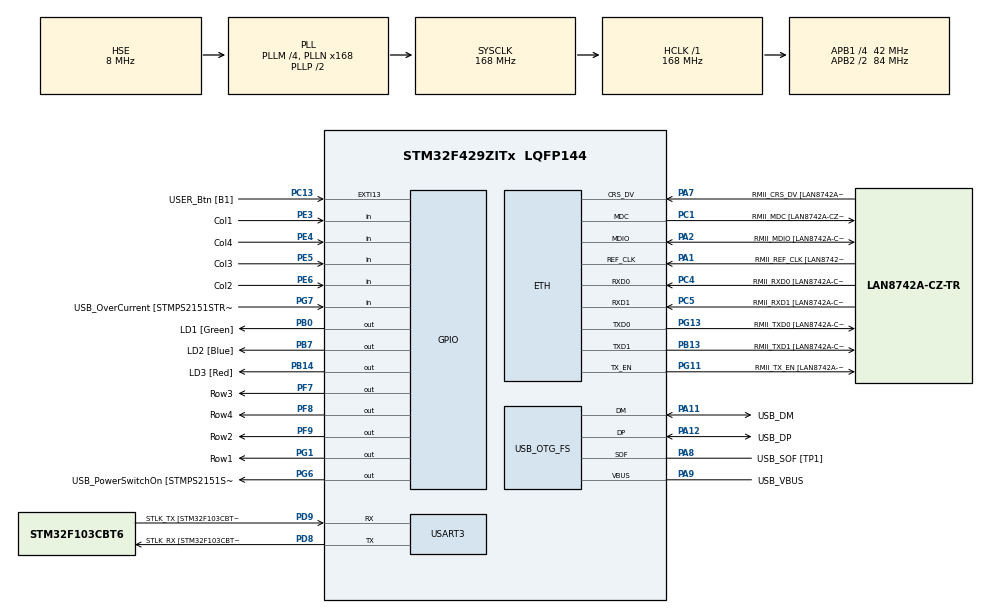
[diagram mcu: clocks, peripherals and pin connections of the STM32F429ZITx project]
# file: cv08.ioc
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ETH.MediaInterface=HAL_ETH_RMII_MODE
ETH.PHY_Name=LAN8742A_PHY_ADDRESS
ETH.PHY_Value=0
ETH.PhyAddress=0
Mcu.Family=STM32F4
Mcu.Name=STM32F429ZITx
Mcu.Package=LQFP144
NVIC.PriorityGroup=NVIC_PRIORITYGROUP_4
NVIC.TIM3_IRQn=true\:0\:0\:false\:false\:true\:true\:true\:true
PA1.GPIO_Label=RMII_REF_CLK [LAN8742A-CZ-TR_REFCLK0]
PA1.Mode=RMII
PA1.Signal=ETH_REF_CLK
PA10.GPIO_Label=USB_ID
PA10.Signal=USB_OTG_FS_ID
PA11.GPIO_Label=USB_DM
PA11.Mode=Device_Only
PA11.Signal=USB_OTG_FS_DM
PA12.GPIO_Label=USB_DP
PA12.Mode=Device_Only
PA12.Signal=USB_OTG_FS_DP
PA13.GPIO_Label=TMS
PA13.Mode=Serial_Wire
PA13.Signal=SYS_JTMS-SWDIO
PA14.GPIO_Label=TCK
PA14.Mode=Serial_Wire
PA14.Signal=SYS_JTCK-SWCLK
PA2.GPIO_Label=RMII_MDIO [LAN8742A-CZ-TR_MDIO]
PA2.Mode=RMII
PA2.Signal=ETH_MDIO
PA7.GPIO_Label=RMII_CRS_DV [LAN8742A-CZ-TR_CRS_DV]
PA7.Mode=RMII
PA7.Signal=ETH_CRS_DV
PA8.GPIO_Label=USB_SOF [TP1]
PA8.Mode=Activate_SOF_FS
PA8.Signal=USB_OTG_FS_SOF
PA9.GPIO_Label=USB_VBUS
PA9.Mode=Activate_VBUS
PA9.Signal=USB_OTG_FS_VBUS
PB0.GPIO_Label=LD1 [Green]
PB0.Signal=GPIO_Output
PB13.GPIO_Label=RMII_TXD1 [LAN8742A-CZ-TR_TXD1]
PB13.Mode=RMII
PB13.Signal=ETH_TXD1
PB14.GPIO_Label=LD3 [Red]
PB14.Signal=GPIO_Output
PB7.GPIO_Label=LD2 [Blue]
PB7.Signal=GPIO_Output
PC1.GPIO_Label=RMII_MDC [LAN8742A-CZ-TR_MDC]
PC1.Mode=RMII
PC1.Signal=ETH_MDC
PC13.GPIO_Label=USER_Btn [B1]
PC13.Signal=GPXTI13
PC14/OSC32_IN.Mode=LSE-External-Oscillator
PC14/OSC32_IN.Signal=RCC_OSC32_IN
PC15/OSC32_OUT.Mode=LSE-External-Oscillator
PC15/OSC32_OUT.Signal=RCC_OSC32_OUT
PC4.GPIO_Label=RMII_RXD0 [LAN8742A-CZ-TR_RXD0]
PC4.Mode=RMII
PC4.Signal=ETH_RXD0
PC5.GPIO_Label=RMII_RXD1 [LAN8742A-CZ-TR_RXD1]
PC5.Mode=RMII
PC5.Signal=ETH_RXD1
PD8.GPIO_Label=STLK_RX [STM32F103CBT6_PA3]
PD8.Mode=Asynchronous
PD8.Signal=USART3_TX
PD9.GPIO_Label=STLK_TX [STM32F103CBT6_PA2]
PD9.Mode=Asynchronous
PD9.Signal=USART3_RX
PE3.GPIO_Label=Col1
PE3.GPIO_PuPd=GPIO_PULLUP
PE3.Signal=GPIO_Input
PE4.GPIO_Label=Col4
PE4.GPIO_PuPd=GPIO_PULLUP
PE4.Signal=GPIO_Input
PE5.GPIO_Label=Col3
PE5.GPIO_PuPd=GPIO_PULLUP
PE5.Signal=GPIO_Input
PE6.GPIO_Label=Col2
PE6.GPIO_PuPd=GPIO_PULLUP
PE6.Signal=GPIO_Input
PF7.GPIO_Label=Row3
PF7.GPIO_ModeDefaultOutputPP=GPIO_MODE_OUTPUT_OD
PF7.GPIO_PuPd=GPIO_NOPULL
PF7.Signal=GPIO_Output
PF8.GPIO_Label=Row4
PF8.GPIO_ModeDefaultOutputPP=GPIO_MODE_OUTPUT_OD
PF8.GPIO_PuPd=GPIO_NOPULL
PF8.Signal=GPIO_Output
PF9.GPIO_Label=Row2
PF9.GPIO_ModeDefaultOutputPP=GPIO_MODE_OUTPUT_OD
PF9.GPIO_PuPd=GPIO_NOPULL
PF9.Signal=GPIO_Output
PG1.GPIO_Label=Row1
PG1.GPIO_ModeDefaultOutputPP=GPIO_MODE_OUTPUT_OD
PG1.GPIO_PuPd=GPIO_NOPULL
PG1.Signal=GPIO_Output
PG11.GPIO_Label=RMII_TX_EN [LAN8742A-CZ-TR_TXEN]
PG11.Mode=RMII
PG11.Signal=ETH_TX_EN
PG13.GPIO_Label=RMII_TXD0 [LAN8742A-CZ-TR_TXD0]
PG13.Mode=RMII
PG13.Signal=ETH_TXD0
PG6.GPIO_Label=USB_PowerSwitchOn [STMPS2151STR_EN]
PG6.Signal=GPIO_Output
PG7.GPIO_Label=USB_OverCurrent [STMPS2151STR_FAULT]
PG7.Signal=GPIO_Input
PH0/OSC_IN.GPIO_Label=MCO [STM32F103CBT6_PA8]
PH0/OSC_IN.Mode=HSE-External-Clock-Source
PH0/OSC_IN.Signal=RCC_OSC_IN
PH1/OSC_OUT.Mode=HSE-External-Clock-Source
PH1/OSC_OUT.Signal=RCC_OSC_OUT
ProjectManager.HeapSize=0x200
ProjectManager.StackSize=0x400
ProjectManager.TargetToolchain=STM32CubeIDE
RCC.48MHZClocksFreq_Value=48000000
RCC.AHBFreq_Value=168000000
RCC.APB1CLKDivider=RCC_HCLK_DIV4
RCC.APB1Freq_Value=42000000
RCC.APB1TimFreq_Value=84000000
RCC.APB2CLKDivider=RCC_HCLK_DIV2
RCC.APB2Freq_Value=84000000
RCC.APB2TimCLKDivider=2
RCC.APB2TimFreq_Value=168000000
RCC.CortexFreq_Value=168000000
RCC.HCLKFreq_Value=168000000
RCC.HSE_VALUE=8000000
RCC.HSI_VALUE=16000000
RCC.PLLM=4
RCC.PLLMUL=RCC_PLL_MUL9
RCC.PLLN=168
RCC.PLLQ=7
RCC.PRESCALERUSB=RCC_USBCLKSOURCE_PLL_DIV1_5
RCC.SYSCLKFreq_VALUE=168000000
RCC.SYSCLKSource=RCC_SYSCLKSOURCE_PLLCLK
RCC.SYSCLKSourceVirtual=RCC_SYSCLKSOURCE_PLLCLK
RCC.USBFreq_Value=48000000
RCC.VCOOutputFreq_Value=336000000
TIM3.AutoReloadPreload=TIM_AUTORELOAD_PRELOAD_ENABLE
TIM3.Period=99
TIM3.Prescaler=8399
USART3.VirtualMode=VM_ASYNC
USB_OTG_FS.VirtualMode=Device_Only
VP_TIM3_VS_ClockSourceINT.Mode=Internal
board=NUCLEO-F429ZI

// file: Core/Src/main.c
/* USER CODE BEGIN Header */
/**
 ******************************************************************************
 * @file           : main.c
 * @brief          : Main program body
 ******************************************************************************
 * @attention
 *
 * Copyright (c) 2025 STMicroelectronics.
 * All rights reserved.
 *
 * This software is licensed under terms that can be found in the LICENSE file
 * in the root directory of this software component.
 * If no LICENSE file comes with this software, it is provided AS-IS.
 *
 ******************************************************************************
 */
/* USER CODE END Header */
#include "main.h"
#include "string.h"

/* USER CODE BEGIN Includes */
#include <stdio.h>
/* USER CODE END Includes */

ETH_TxPacketConfig TxConfig;
ETH_DMADescTypeDef  DMARxDscrTab[ETH_RX_DESC_CNT]; /* Ethernet Rx DMA Descriptors */
ETH_DMADescTypeDef  DMATxDscrTab[ETH_TX_DESC_CNT]; /* Ethernet Tx DMA Descriptors */

ETH_HandleTypeDef heth;

TIM_HandleTypeDef htim3;

UART_HandleTypeDef huart3;

PCD_HandleTypeDef hpcd_USB_OTG_FS;

/* USER CODE BEGIN PV */
static volatile char key;
/* USER CODE END PV */

void SystemClock_Config(void);
static void MX_GPIO_Init(void);
static void MX_ETH_Init(void);
static void MX_USART3_UART_Init(void);
static void MX_USB_OTG_FS_PCD_Init(void);
static void MX_TIM3_Init(void);

/* USER CODE BEGIN 0 */
int __io_putchar(int ch)
{
	ITM_SendChar(ch);
	return 0;
}

void HAL_TIM_PeriodElapsedCallback(TIM_HandleTypeDef *htim)
{
	static uint8_t row = 0;
	static const char keyboard[4][4] = {
			{ '1', '2', '3', 'A' },
			{ '4', '5', '6', 'B' },
			{ '7', '8', '9', 'C' },
			{ '*', '0', '#', 'D' },
	};
	if (key == 0) {
		if (HAL_GPIO_ReadPin(Col1_GPIO_Port, Col1_Pin) == GPIO_PIN_RESET) {
			key = keyboard[row][0];
		}
		if (HAL_GPIO_ReadPin(Col2_GPIO_Port, Col2_Pin) == GPIO_PIN_RESET) {
			key = keyboard[row][1];
		}
		if (HAL_GPIO_ReadPin(Col3_GPIO_Port, Col3_Pin) == GPIO_PIN_RESET) {
			key = keyboard[row][2];
		}
		if (HAL_GPIO_ReadPin(Col4_GPIO_Port, Col4_Pin) == GPIO_PIN_RESET) {
			key = keyboard[row][3];
		}
	}
	HAL_GPIO_WritePin(Row1_GPIO_Port, Row1_Pin, GPIO_PIN_SET);
	HAL_GPIO_WritePin(Row2_GPIO_Port, Row2_Pin, GPIO_PIN_SET);
	HAL_GPIO_WritePin(Row3_GPIO_Port, Row3_Pin, GPIO_PIN_SET);
	HAL_GPIO_WritePin(Row4_GPIO_Port, Row4_Pin, GPIO_PIN_SET);
	switch (row) {
	case 0:
		row = 1;
		HAL_GPIO_WritePin(Row2_GPIO_Port, Row2_Pin, GPIO_PIN_RESET);
		break;
	case 1:
		row = 2;
		HAL_GPIO_WritePin(Row3_GPIO_Port, Row3_Pin, GPIO_PIN_RESET);
		break;
	case 2:
		row = 3;
		HAL_GPIO_WritePin(Row4_GPIO_Port, Row4_Pin, GPIO_PIN_RESET);
		break;
	case 3:
		row = 0;
		HAL_GPIO_WritePin(Row1_GPIO_Port, Row1_Pin, GPIO_PIN_RESET);
		break;
	}
}

/* USER CODE END 0 */

int main(void)
{

	/* MCU Configuration--------------------------------------------------------*/

	/* Reset of all peripherals, Initializes the Flash interface and the Systick. */
	HAL_Init();

	/* Configure the system clock */
	SystemClock_Config();

	/* Initialize all configured peripherals */
	MX_GPIO_Init();
	MX_ETH_Init();
	MX_USART3_UART_Init();
	MX_USB_OTG_FS_PCD_Init();
	MX_TIM3_Init();
	/* USER CODE BEGIN 2 */
	HAL_TIM_Base_Start_IT(&htim3);

	const char password[] = { '7', '9', '3', '2', '#' };
	uint8_t pw_ind = 0;
	uint32_t last_but = 0;
	uint32_t curr_time = 0;
	/* USER CODE END 2 */

	/* Infinite loop */
	/* USER CODE BEGIN WHILE */
	while (1)
	{
		/*printf("Tick\n");
	  HAL_GPIO_TogglePin(LD1_GPIO_Port, LD1_Pin);
	  HAL_Delay(250);*/

		if (key != 0) {
			printf("pressed '%c'\n", key);
			last_but = HAL_GetTick();
			if (key == password[pw_ind]) {
				pw_ind++;
				if (pw_ind == 5) {
					printf("Correct password, well done!\n");
					pw_ind = 0;
				}
			} else {
				pw_ind = 0;
				printf("Incorrect password, try again!\n");
			}
			HAL_Delay(500);
			key = 0;
		}
		curr_time = HAL_GetTick();
		if (curr_time - last_but > 3000 && pw_ind != 0) {
			pw_ind = 0;
			printf("Too long wait time, try again!\n");
		}

		/* USER CODE END WHILE */

	}
}

void SystemClock_Config(void)
{
	RCC_OscInitTypeDef RCC_OscInitStruct = {0};
	RCC_ClkInitTypeDef RCC_ClkInitStruct = {0};

	/** Configure the main internal regulator output voltage
	 */
	__HAL_RCC_PWR_CLK_ENABLE();
	__HAL_PWR_VOLTAGESCALING_CONFIG(PWR_REGULATOR_VOLTAGE_SCALE1);

	/** Initializes the RCC Oscillators according to the specified parameters
	 * in the RCC_OscInitTypeDef structure.
	 */
	RCC_OscInitStruct.OscillatorType = RCC_OSCILLATORTYPE_HSE;
	RCC_OscInitStruct.HSEState = RCC_HSE_BYPASS;
	RCC_OscInitStruct.PLL.PLLState = RCC_PLL_ON;
	RCC_OscInitStruct.PLL.PLLSource = RCC_PLLSOURCE_HSE;
	RCC_OscInitStruct.PLL.PLLM = 4;
	RCC_OscInitStruct.PLL.PLLN = 168;
	RCC_OscInitStruct.PLL.PLLP = RCC_PLLP_DIV2;
	RCC_OscInitStruct.PLL.PLLQ = 7;
	if (HAL_RCC_OscConfig(&RCC_OscInitStruct) != HAL_OK)
	{
		Error_Handler();
	}

	/** Initializes the CPU, AHB and APB buses clocks
	 */
	RCC_ClkInitStruct.ClockType = RCC_CLOCKTYPE_HCLK|RCC_CLOCKTYPE_SYSCLK
			|RCC_CLOCKTYPE_PCLK1|RCC_CLOCKTYPE_PCLK2;
	RCC_ClkInitStruct.SYSCLKSource = RCC_SYSCLKSOURCE_PLLCLK;
	RCC_ClkInitStruct.AHBCLKDivider = RCC_SYSCLK_DIV1;
	RCC_ClkInitStruct.APB1CLKDivider = RCC_HCLK_DIV4;
	RCC_ClkInitStruct.APB2CLKDivider = RCC_HCLK_DIV2;

	if (HAL_RCC_ClockConfig(&RCC_ClkInitStruct, FLASH_LATENCY_5) != HAL_OK)
	{
		Error_Handler();
	}
}

static void MX_ETH_Init(void)
{

	static uint8_t MACAddr[6];

	heth.Instance = ETH;
	MACAddr[0] = 0x00;
	MACAddr[1] = 0x80;
	MACAddr[2] = 0xE1;
	MACAddr[3] = 0x00;
	MACAddr[4] = 0x00;
	MACAddr[5] = 0x00;
	heth.Init.MACAddr = &MACAddr[0];
	heth.Init.MediaInterface = HAL_ETH_RMII_MODE;
	heth.Init.TxDesc = DMATxDscrTab;
	heth.Init.RxDesc = DMARxDscrTab;
	heth.Init.RxBuffLen = 1524;

	if (HAL_ETH_Init(&heth) != HAL_OK)
	{
		Error_Handler();
	}

	memset(&TxConfig, 0 , sizeof(ETH_TxPacketConfig));
	TxConfig.Attributes = ETH_TX_PACKETS_FEATURES_CSUM | ETH_TX_PACKETS_FEATURES_CRCPAD;
	TxConfig.ChecksumCtrl = ETH_CHECKSUM_IPHDR_PAYLOAD_INSERT_PHDR_CALC;
	TxConfig.CRCPadCtrl = ETH_CRC_PAD_INSERT;

}

static void MX_TIM3_Init(void)
{

	TIM_ClockConfigTypeDef sClockSourceConfig = {0};
	TIM_MasterConfigTypeDef sMasterConfig = {0};

	htim3.Instance = TIM3;
	htim3.Init.Prescaler = 8399;
	htim3.Init.CounterMode = TIM_COUNTERMODE_UP;
	htim3.Init.Period = 99;
	htim3.Init.ClockDivision = TIM_CLOCKDIVISION_DIV1;
	htim3.Init.AutoReloadPreload = TIM_AUTORELOAD_PRELOAD_ENABLE;
	if (HAL_TIM_Base_Init(&htim3) != HAL_OK)
	{
		Error_Handler();
	}
	sClockSourceConfig.ClockSource = TIM_CLOCKSOURCE_INTERNAL;
	if (HAL_TIM_ConfigClockSource(&htim3, &sClockSourceConfig) != HAL_OK)
	{
		Error_Handler();
	}
	sMasterConfig.MasterOutputTrigger = TIM_TRGO_RESET;
	sMasterConfig.MasterSlaveMode = TIM_MASTERSLAVEMODE_DISABLE;
	if (HAL_TIMEx_MasterConfigSynchronization(&htim3, &sMasterConfig) != HAL_OK)
	{
		Error_Handler();
	}

}

static void MX_USART3_UART_Init(void)
{

	huart3.Instance = USART3;
	huart3.Init.BaudRate = 115200;
	huart3.Init.WordLength = UART_WORDLENGTH_8B;
	huart3.Init.StopBits = UART_STOPBITS_1;
	huart3.Init.Parity = UART_PARITY_NONE;
	huart3.Init.Mode = UART_MODE_TX_RX;
	huart3.Init.HwFlowCtl = UART_HWCONTROL_NONE;
	huart3.Init.OverSampling = UART_OVERSAMPLING_16;
	if (HAL_UART_Init(&huart3) != HAL_OK)
	{
		Error_Handler();
	}

}

static void MX_USB_OTG_FS_PCD_Init(void)
{

	hpcd_USB_OTG_FS.Instance = USB_OTG_FS;
	hpcd_USB_OTG_FS.Init.dev_endpoints = 4;
	hpcd_USB_OTG_FS.Init.speed = PCD_SPEED_FULL;
	hpcd_USB_OTG_FS.Init.dma_enable = DISABLE;
	hpcd_USB_OTG_FS.Init.phy_itface = PCD_PHY_EMBEDDED;
	hpcd_USB_OTG_FS.Init.Sof_enable = ENABLE;
	hpcd_USB_OTG_FS.Init.low_power_enable = DISABLE;
	hpcd_USB_OTG_FS.Init.lpm_enable = DISABLE;
	hpcd_USB_OTG_FS.Init.vbus_sensing_enable = ENABLE;
	hpcd_USB_OTG_FS.Init.use_dedicated_ep1 = DISABLE;
	if (HAL_PCD_Init(&hpcd_USB_OTG_FS) != HAL_OK)
	{
		Error_Handler();
	}

}

static void MX_GPIO_Init(void)
{
	GPIO_InitTypeDef GPIO_InitStruct = {0};

	/* GPIO Ports Clock Enable */
	__HAL_RCC_GPIOE_CLK_ENABLE();
	__HAL_RCC_GPIOC_CLK_ENABLE();
	__HAL_RCC_GPIOF_CLK_ENABLE();
	__HAL_RCC_GPIOH_CLK_ENABLE();
	__HAL_RCC_GPIOA_CLK_ENABLE();
	__HAL_RCC_GPIOB_CLK_ENABLE();
	__HAL_RCC_GPIOG_CLK_ENABLE();
	__HAL_RCC_GPIOD_CLK_ENABLE();

	/*Configure GPIO pin Output Level */
	HAL_GPIO_WritePin(GPIOF, Row3_Pin|Row4_Pin|Row2_Pin, GPIO_PIN_RESET);

	/*Configure GPIO pin Output Level */
	HAL_GPIO_WritePin(GPIOB, LD1_Pin|LD3_Pin|LD2_Pin, GPIO_PIN_RESET);

	/*Configure GPIO pin Output Level */
	HAL_GPIO_WritePin(GPIOG, Row1_Pin|USB_PowerSwitchOn_Pin, GPIO_PIN_RESET);

	/*Configure GPIO pins : Col1_Pin Col4_Pin Col3_Pin Col2_Pin */
	GPIO_InitStruct.Pin = Col1_Pin|Col4_Pin|Col3_Pin|Col2_Pin;
	GPIO_InitStruct.Mode = GPIO_MODE_INPUT;
	GPIO_InitStruct.Pull = GPIO_PULLUP;
	HAL_GPIO_Init(GPIOE, &GPIO_InitStruct);

	/*Configure GPIO pin : USER_Btn_Pin */
	GPIO_InitStruct.Pin = USER_Btn_Pin;
	GPIO_InitStruct.Mode = GPIO_MODE_IT_RISING;
	GPIO_InitStruct.Pull = GPIO_NOPULL;
	HAL_GPIO_Init(USER_Btn_GPIO_Port, &GPIO_InitStruct);

	/*Configure GPIO pins : Row3_Pin Row4_Pin Row2_Pin */
	GPIO_InitStruct.Pin = Row3_Pin|Row4_Pin|Row2_Pin;
	GPIO_InitStruct.Mode = GPIO_MODE_OUTPUT_OD;
	GPIO_InitStruct.Pull = GPIO_NOPULL;
	GPIO_InitStruct.Speed = GPIO_SPEED_FREQ_LOW;
	HAL_GPIO_Init(GPIOF, &GPIO_InitStruct);

	/*Configure GPIO pins : LD1_Pin LD3_Pin LD2_Pin */
	GPIO_InitStruct.Pin = LD1_Pin|LD3_Pin|LD2_Pin;
	GPIO_InitStruct.Mode = GPIO_MODE_OUTPUT_PP;
	GPIO_InitStruct.Pull = GPIO_NOPULL;
	GPIO_InitStruct.Speed = GPIO_SPEED_FREQ_LOW;
	HAL_GPIO_Init(GPIOB, &GPIO_InitStruct);

	/*Configure GPIO pin : Row1_Pin */
	GPIO_InitStruct.Pin = Row1_Pin;
	GPIO_InitStruct.Mode = GPIO_MODE_OUTPUT_OD;
	GPIO_InitStruct.Pull = GPIO_NOPULL;
	GPIO_InitStruct.Speed = GPIO_SPEED_FREQ_LOW;
	HAL_GPIO_Init(Row1_GPIO_Port, &GPIO_InitStruct);

	/*Configure GPIO pin : USB_PowerSwitchOn_Pin */
	GPIO_InitStruct.Pin = USB_PowerSwitchOn_Pin;
	GPIO_InitStruct.Mode = GPIO_MODE_OUTPUT_PP;
	GPIO_InitStruct.Pull = GPIO_NOPULL;
	GPIO_InitStruct.Speed = GPIO_SPEED_FREQ_LOW;
	HAL_GPIO_Init(USB_PowerSwitchOn_GPIO_Port, &GPIO_InitStruct);

	/*Configure GPIO pin : USB_OverCurrent_Pin */
	GPIO_InitStruct.Pin = USB_OverCurrent_Pin;
	GPIO_InitStruct.Mode = GPIO_MODE_INPUT;
	GPIO_InitStruct.Pull = GPIO_NOPULL;
	HAL_GPIO_Init(USB_OverCurrent_GPIO_Port, &GPIO_InitStruct);

}

void Error_Handler(void)
{
	__disable_irq();
	while (1)
	{
	}
}
